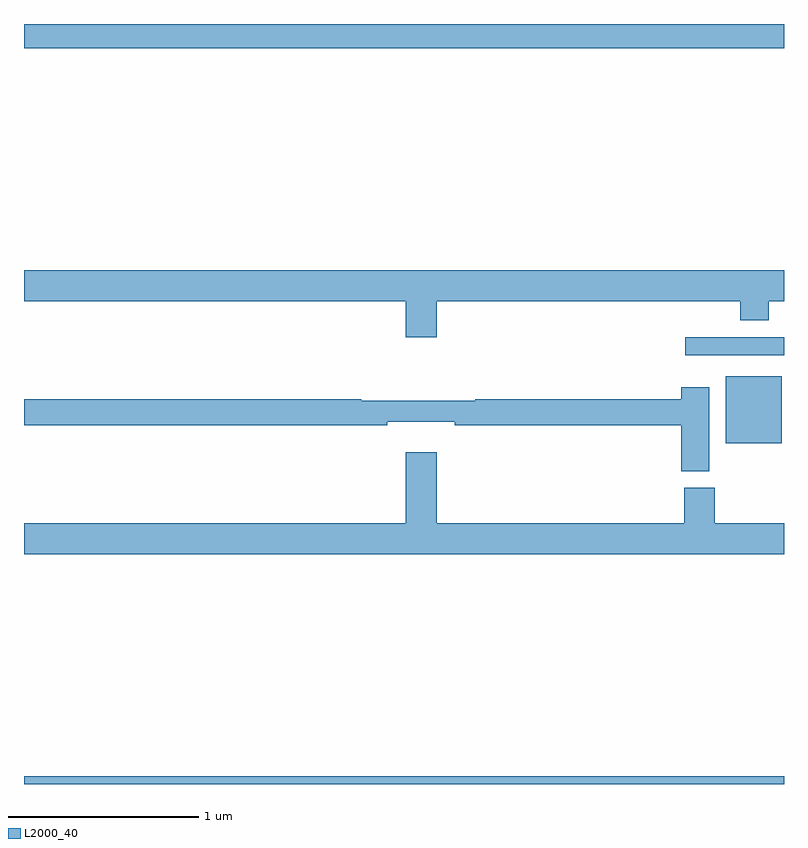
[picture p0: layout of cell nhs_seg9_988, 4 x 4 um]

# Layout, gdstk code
import gdstk
lib = gdstk.Library(unit=1e-6, precision=1e-09)
def R(c, l, rs):  # rectangles x0, y0, x1, y1
    for r in rs: c.add(gdstk.rectangle(r[:2], r[2:], *l))
def P(c, l, *ps):  # polygons
    for p in ps: c.add(gdstk.Polygon(p, *l))
L2000_40 = (2000, 40)

nhs_seg9_988 = lib.new_cell('nhs_seg9_988')
R(nhs_seg9_988, L2000_40, [(163,1240.5,167,1240.54), (166.694,1242.293,166.987,1242.646), (166.479,1242.756,167,1242.852), (163,1244.372,167,1244.5)])
P(nhs_seg9_988, L2000_40, [(165.172,1243.04),(166.769,1243.04),(166.769,1242.941),(166.921,1242.941),(166.921,1243.04),(167,1243.04),(167,1243.204),(163,1243.204),(163,1243.04),(165.008,1243.04),(165.008,1242.852),(165.172,1242.852)],
  [(166.606,1242.589),(166.46,1242.589),(166.46,1242.524),(165.376,1242.524),(165.376,1242.517),(164.776,1242.517),(164.776,1242.524),(163,1242.524),(163,1242.388),(164.912,1242.388),(164.912,1242.407),(165.268,1242.407),(165.268,1242.388),(166.46,1242.388),(166.46,1242.145),(166.606,1242.145)],
  [(167,1241.872),(166.635,1241.872),(166.635,1242.06),(166.475,1242.06),(166.475,1241.872),(165.172,1241.872),(165.172,1242.247),(165.008,1242.247),(165.008,1241.872),(163,1241.872),(163,1241.708),(167,1241.708)])

lib.write_gds('nhs_seg9_988.gds')
